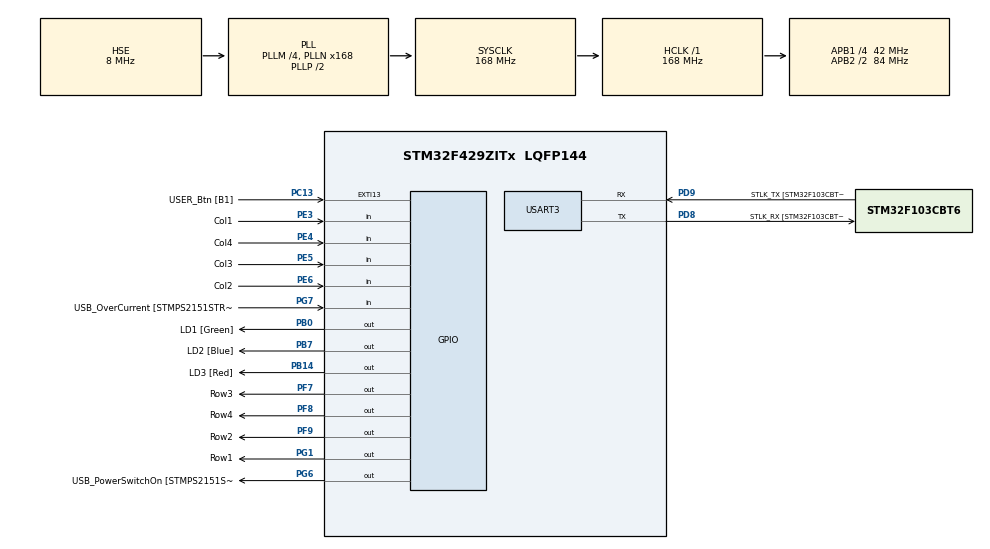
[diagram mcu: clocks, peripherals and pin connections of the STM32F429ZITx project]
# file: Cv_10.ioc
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Mcu.Family=STM32F4
Mcu.Name=STM32F429ZITx
Mcu.Package=LQFP144
NVIC.PriorityGroup=NVIC_PRIORITYGROUP_4
NVIC.TIM3_IRQn=true\:0\:0\:false\:false\:true\:true\:true\:true
PA1.GPIO_Label=RMII_REF_CLK [LAN8742A-CZ-TR_REFCLK0]
PA1.Signal=ETH_REF_CLK
PA10.GPIO_Label=USB_ID
PA10.Signal=USB_OTG_FS_ID
PA11.GPIO_Label=USB_DM
PA11.Signal=USB_OTG_FS_DM
PA12.GPIO_Label=USB_DP
PA12.Signal=USB_OTG_FS_DP
PA13.GPIO_Label=TMS
PA13.Mode=Serial_Wire
PA13.Signal=SYS_JTMS-SWDIO
PA14.GPIO_Label=TCK
PA14.Mode=Serial_Wire
PA14.Signal=SYS_JTCK-SWCLK
PA2.GPIO_Label=RMII_MDIO [LAN8742A-CZ-TR_MDIO]
PA2.Signal=ETH_MDIO
PA7.GPIO_Label=RMII_CRS_DV [LAN8742A-CZ-TR_CRS_DV]
PA7.Signal=ETH_CRS_DV
PA8.GPIO_Label=USB_SOF [TP1]
PA8.Signal=USB_OTG_FS_SOF
PA9.GPIO_Label=USB_VBUS
PA9.Signal=USB_OTG_FS_VBUS
PB0.GPIO_Label=LD1 [Green]
PB0.Signal=GPIO_Output
PB13.GPIO_Label=RMII_TXD1 [LAN8742A-CZ-TR_TXD1]
PB13.Signal=ETH_TXD1
PB14.GPIO_Label=LD3 [Red]
PB14.Signal=GPIO_Output
PB7.GPIO_Label=LD2 [Blue]
PB7.Signal=GPIO_Output
PC1.GPIO_Label=RMII_MDC [LAN8742A-CZ-TR_MDC]
PC1.Signal=ETH_MDC
PC13.GPIO_Label=USER_Btn [B1]
PC13.Signal=GPXTI13
PC14/OSC32_IN.Mode=LSE-External-Oscillator
PC14/OSC32_IN.Signal=RCC_OSC32_IN
PC15/OSC32_OUT.Mode=LSE-External-Oscillator
PC15/OSC32_OUT.Signal=RCC_OSC32_OUT
PC4.GPIO_Label=RMII_RXD0 [LAN8742A-CZ-TR_RXD0]
PC4.Signal=ETH_RXD0
PC5.GPIO_Label=RMII_RXD1 [LAN8742A-CZ-TR_RXD1]
PC5.Signal=ETH_RXD1
PD8.GPIO_Label=STLK_RX [STM32F103CBT6_PA3]
PD8.Mode=Asynchronous
PD8.Signal=USART3_TX
PD9.GPIO_Label=STLK_TX [STM32F103CBT6_PA2]
PD9.Mode=Asynchronous
PD9.Signal=USART3_RX
PE3.GPIO_Label=Col1
PE3.GPIO_PuPd=GPIO_PULLUP
PE3.Signal=GPIO_Input
PE4.GPIO_Label=Col4
PE4.GPIO_PuPd=GPIO_PULLUP
PE4.Signal=GPIO_Input
PE5.GPIO_Label=Col3
PE5.GPIO_PuPd=GPIO_PULLUP
PE5.Signal=GPIO_Input
PE6.GPIO_Label=Col2
PE6.GPIO_PuPd=GPIO_PULLUP
PE6.Signal=GPIO_Input
PF7.GPIO_Label=Row3
PF7.GPIO_ModeDefaultOutputPP=GPIO_MODE_OUTPUT_OD
PF7.GPIO_PuPd=GPIO_NOPULL
PF7.Signal=GPIO_Output
PF8.GPIO_Label=Row4
PF8.GPIO_ModeDefaultOutputPP=GPIO_MODE_OUTPUT_OD
PF8.GPIO_PuPd=GPIO_NOPULL
PF8.Signal=GPIO_Output
PF9.GPIO_Label=Row2
PF9.GPIO_ModeDefaultOutputPP=GPIO_MODE_OUTPUT_OD
PF9.GPIO_PuPd=GPIO_NOPULL
PF9.Signal=GPIO_Output
PG1.GPIO_Label=Row1
PG1.GPIO_ModeDefaultOutputPP=GPIO_MODE_OUTPUT_OD
PG1.GPIO_PuPd=GPIO_NOPULL
PG1.Signal=GPIO_Output
PG11.GPIO_Label=RMII_TX_EN [LAN8742A-CZ-TR_TXEN]
PG11.Signal=ETH_TX_EN
PG13.GPIO_Label=RMII_TXD0 [LAN8742A-CZ-TR_TXD0]
PG13.Signal=ETH_TXD0
PG6.GPIO_Label=USB_PowerSwitchOn [STMPS2151STR_EN]
PG6.Signal=GPIO_Output
PG7.GPIO_Label=USB_OverCurrent [STMPS2151STR_FAULT]
PG7.Signal=GPIO_Input
PH0/OSC_IN.GPIO_Label=MCO [STM32F103CBT6_PA8]
PH0/OSC_IN.Mode=HSE-External-Clock-Source
PH0/OSC_IN.Signal=RCC_OSC_IN
PH1/OSC_OUT.Mode=HSE-External-Clock-Source
PH1/OSC_OUT.Signal=RCC_OSC_OUT
ProjectManager.HeapSize=0x200
ProjectManager.StackSize=0x400
ProjectManager.TargetToolchain=STM32CubeIDE
RCC.48MHZClocksFreq_Value=48000000
RCC.AHBFreq_Value=168000000
RCC.APB1CLKDivider=RCC_HCLK_DIV4
RCC.APB1Freq_Value=42000000
RCC.APB1TimFreq_Value=84000000
RCC.APB2CLKDivider=RCC_HCLK_DIV2
RCC.APB2Freq_Value=84000000
RCC.APB2TimCLKDivider=2
RCC.APB2TimFreq_Value=168000000
RCC.CortexFreq_Value=168000000
RCC.HCLKFreq_Value=168000000
RCC.HSE_VALUE=8000000
RCC.HSI_VALUE=16000000
RCC.PLLM=4
RCC.PLLMUL=RCC_PLL_MUL9
RCC.PLLN=168
RCC.PLLQ=7
RCC.PLLSourceVirtual=RCC_PLLSOURCE_HSE
RCC.PRESCALERUSB=RCC_USBCLKSOURCE_PLL_DIV1_5
RCC.SYSCLKFreq_VALUE=168000000
RCC.SYSCLKSource=RCC_SYSCLKSOURCE_PLLCLK
RCC.SYSCLKSourceVirtual=RCC_SYSCLKSOURCE_PLLCLK
RCC.USBFreq_Value=48000000
RCC.VCOOutputFreq_Value=336000000
TIM3.AutoReloadPreload=TIM_AUTORELOAD_PRELOAD_ENABLE
TIM3.Period=99
TIM3.Prescaler=8399
USART3.VirtualMode=VM_ASYNC
VP_TIM3_VS_ClockSourceINT.Mode=Internal
board=NUCLEO-F429ZI

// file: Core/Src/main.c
/* USER CODE BEGIN Header */
/**
  ******************************************************************************
  * @file           : main.c
  * @brief          : Main program body
  ******************************************************************************
  * @attention
  *
  * Copyright (c) 2022 STMicroelectronics.
  * All rights reserved.
  *
  * This software is licensed under terms that can be found in the LICENSE file
  * in the root directory of this software component.
  * If no LICENSE file comes with this software, it is provided AS-IS.
  *
  ******************************************************************************
  */
/* USER CODE END Header */
#include "main.h"

/* USER CODE BEGIN Includes */
#include "stdio.h"
/* USER CODE END Includes */

TIM_HandleTypeDef htim3;

UART_HandleTypeDef huart3;

/* USER CODE BEGIN PV */
static volatile int8_t key = -1;
/* USER CODE END PV */

void SystemClock_Config(void);
static void MX_GPIO_Init(void);
static void MX_USART3_UART_Init(void);
static void MX_TIM3_Init(void);

/* USER CODE BEGIN 0 */
int __io_putchar(int ch) {
	ITM_SendChar(ch);
	return 0;
}
void HAL_TIM_PeriodElapsedCallback(TIM_HandleTypeDef *htim) {
	static int row = 0;
	static const int keyboard[4][4] = {
			{ 1, 2, 3, 21 },
			{ 4, 5, 6, 22 },
			{ 7, 8, 9, 23 },
			{ 11, 0, 12, 24 },
	};
	if (key == -1) {
		if (HAL_GPIO_ReadPin(Col1_GPIO_Port, Col1_Pin) == GPIO_PIN_RESET)
			key = keyboard[row][0];
		if (HAL_GPIO_ReadPin(Col2_GPIO_Port, Col2_Pin) == GPIO_PIN_RESET)
			key = keyboard[row][1];
		if (HAL_GPIO_ReadPin(Col3_GPIO_Port, Col3_Pin) == GPIO_PIN_RESET)
			key = keyboard[row][2];
		if (HAL_GPIO_ReadPin(Col4_GPIO_Port, Col4_Pin) == GPIO_PIN_RESET)
			key = keyboard[row][3];
	}
	HAL_GPIO_WritePin(Row1_GPIO_Port, Row1_Pin, GPIO_PIN_SET);
	HAL_GPIO_WritePin(Row2_GPIO_Port, Row2_Pin, GPIO_PIN_SET);
	HAL_GPIO_WritePin(Row3_GPIO_Port, Row3_Pin, GPIO_PIN_SET);
	HAL_GPIO_WritePin(Row4_GPIO_Port, Row4_Pin, GPIO_PIN_SET);
	switch (row) {
	case 0:
		row = 1;
		HAL_GPIO_WritePin(Row2_GPIO_Port, Row2_Pin, GPIO_PIN_RESET);
		break;
	case 1:
		row = 2;
		HAL_GPIO_WritePin(Row3_GPIO_Port, Row3_Pin, GPIO_PIN_RESET);
		break;
	case 2:
		row = 3;
		HAL_GPIO_WritePin(Row4_GPIO_Port, Row4_Pin, GPIO_PIN_RESET);
		break;
	case 3:
		row = 0;
		HAL_GPIO_WritePin(Row1_GPIO_Port, Row1_Pin, GPIO_PIN_RESET);
		break;
	}
}

/* USER CODE END 0 */

int main(void)
{

  /* MCU Configuration--------------------------------------------------------*/

  /* Reset of all peripherals, Initializes the Flash interface and the Systick. */
  HAL_Init();

  /* Configure the system clock */
  SystemClock_Config();

  /* Initialize all configured peripherals */
  MX_GPIO_Init();
  MX_USART3_UART_Init();
  MX_TIM3_Init();
  /* USER CODE BEGIN 2 */
  HAL_TIM_Base_Start_IT(&htim3);
  printf(" Cv_10 online:\n");

  const uint8_t password[] = {7, 9, 3, 2, 12};
  uint8_t pos = 0;
  uint32_t timeout;
  /* USER CODE END 2 */

  /* Infinite loop */
  /* USER CODE BEGIN WHILE */
  while (1)
  {

		if (key != -1) {
			timeout = HAL_GetTick(); //store time for timeout count
			if (key == password[pos]) {
				pos++;
				printf("Pressed: %d > pos: %d\n", key, pos);
				HAL_Delay(250); //filter delay
				if (pos > 4) {
					HAL_GPIO_TogglePin(LD1_GPIO_Port, LD1_Pin); //toggle led in case of success
					printf("Toggle LED\n");
					pos = 0;
				}

			}
			else {
				printf("FAIL\n");
				pos = 0;
				printf("Pressed: %d > pos: %d\n", key, pos);
			}
		key = -1; // flag for new read
		}
		if (HAL_GetTick() > timeout + 3000) {

			if (pos != 0) {
				printf("Timeout\n");
			}
			pos = 0;
		}
    /* USER CODE END WHILE */

  }
}

void SystemClock_Config(void)
{
  RCC_OscInitTypeDef RCC_OscInitStruct = {0};
  RCC_ClkInitTypeDef RCC_ClkInitStruct = {0};

  /** Configure the main internal regulator output voltage
  */
  __HAL_RCC_PWR_CLK_ENABLE();
  __HAL_PWR_VOLTAGESCALING_CONFIG(PWR_REGULATOR_VOLTAGE_SCALE1);

  /** Initializes the RCC Oscillators according to the specified parameters
  * in the RCC_OscInitTypeDef structure.
  */
  RCC_OscInitStruct.OscillatorType = RCC_OSCILLATORTYPE_HSE;
  RCC_OscInitStruct.HSEState = RCC_HSE_BYPASS;
  RCC_OscInitStruct.PLL.PLLState = RCC_PLL_ON;
  RCC_OscInitStruct.PLL.PLLSource = RCC_PLLSOURCE_HSE;
  RCC_OscInitStruct.PLL.PLLM = 4;
  RCC_OscInitStruct.PLL.PLLN = 168;
  RCC_OscInitStruct.PLL.PLLP = RCC_PLLP_DIV2;
  RCC_OscInitStruct.PLL.PLLQ = 7;
  if (HAL_RCC_OscConfig(&RCC_OscInitStruct) != HAL_OK)
  {
    Error_Handler();
  }

  /** Initializes the CPU, AHB and APB buses clocks
  */
  RCC_ClkInitStruct.ClockType = RCC_CLOCKTYPE_HCLK|RCC_CLOCKTYPE_SYSCLK
                              |RCC_CLOCKTYPE_PCLK1|RCC_CLOCKTYPE_PCLK2;
  RCC_ClkInitStruct.SYSCLKSource = RCC_SYSCLKSOURCE_PLLCLK;
  RCC_ClkInitStruct.AHBCLKDivider = RCC_SYSCLK_DIV1;
  RCC_ClkInitStruct.APB1CLKDivider = RCC_HCLK_DIV4;
  RCC_ClkInitStruct.APB2CLKDivider = RCC_HCLK_DIV2;

  if (HAL_RCC_ClockConfig(&RCC_ClkInitStruct, FLASH_LATENCY_5) != HAL_OK)
  {
    Error_Handler();
  }
}

static void MX_TIM3_Init(void)
{

  TIM_ClockConfigTypeDef sClockSourceConfig = {0};
  TIM_MasterConfigTypeDef sMasterConfig = {0};

  htim3.Instance = TIM3;
  htim3.Init.Prescaler = 8399;
  htim3.Init.CounterMode = TIM_COUNTERMODE_UP;
  htim3.Init.Period = 99;
  htim3.Init.ClockDivision = TIM_CLOCKDIVISION_DIV1;
  htim3.Init.AutoReloadPreload = TIM_AUTORELOAD_PRELOAD_ENABLE;
  if (HAL_TIM_Base_Init(&htim3) != HAL_OK)
  {
    Error_Handler();
  }
  sClockSourceConfig.ClockSource = TIM_CLOCKSOURCE_INTERNAL;
  if (HAL_TIM_ConfigClockSource(&htim3, &sClockSourceConfig) != HAL_OK)
  {
    Error_Handler();
  }
  sMasterConfig.MasterOutputTrigger = TIM_TRGO_RESET;
  sMasterConfig.MasterSlaveMode = TIM_MASTERSLAVEMODE_DISABLE;
  if (HAL_TIMEx_MasterConfigSynchronization(&htim3, &sMasterConfig) != HAL_OK)
  {
    Error_Handler();
  }

}

static void MX_USART3_UART_Init(void)
{

  huart3.Instance = USART3;
  huart3.Init.BaudRate = 115200;
  huart3.Init.WordLength = UART_WORDLENGTH_8B;
  huart3.Init.StopBits = UART_STOPBITS_1;
  huart3.Init.Parity = UART_PARITY_NONE;
  huart3.Init.Mode = UART_MODE_TX_RX;
  huart3.Init.HwFlowCtl = UART_HWCONTROL_NONE;
  huart3.Init.OverSampling = UART_OVERSAMPLING_16;
  if (HAL_UART_Init(&huart3) != HAL_OK)
  {
    Error_Handler();
  }

}

static void MX_GPIO_Init(void)
{
  GPIO_InitTypeDef GPIO_InitStruct = {0};

  /* GPIO Ports Clock Enable */
  __HAL_RCC_GPIOE_CLK_ENABLE();
  __HAL_RCC_GPIOC_CLK_ENABLE();
  __HAL_RCC_GPIOF_CLK_ENABLE();
  __HAL_RCC_GPIOH_CLK_ENABLE();
  __HAL_RCC_GPIOA_CLK_ENABLE();
  __HAL_RCC_GPIOB_CLK_ENABLE();
  __HAL_RCC_GPIOG_CLK_ENABLE();
  __HAL_RCC_GPIOD_CLK_ENABLE();

  /*Configure GPIO pin Output Level */
  HAL_GPIO_WritePin(GPIOF, Row3_Pin|Row4_Pin|Row2_Pin, GPIO_PIN_RESET);

  /*Configure GPIO pin Output Level */
  HAL_GPIO_WritePin(GPIOB, LD1_Pin|LD3_Pin|LD2_Pin, GPIO_PIN_RESET);

  /*Configure GPIO pin Output Level */
  HAL_GPIO_WritePin(GPIOG, Row1_Pin|USB_PowerSwitchOn_Pin, GPIO_PIN_RESET);

  /*Configure GPIO pins : Col1_Pin Col4_Pin Col3_Pin Col2_Pin */
  GPIO_InitStruct.Pin = Col1_Pin|Col4_Pin|Col3_Pin|Col2_Pin;
  GPIO_InitStruct.Mode = GPIO_MODE_INPUT;
  GPIO_InitStruct.Pull = GPIO_PULLUP;
  HAL_GPIO_Init(GPIOE, &GPIO_InitStruct);

  /*Configure GPIO pin : USER_Btn_Pin */
  GPIO_InitStruct.Pin = USER_Btn_Pin;
  GPIO_InitStruct.Mode = GPIO_MODE_IT_RISING;
  GPIO_InitStruct.Pull = GPIO_NOPULL;
  HAL_GPIO_Init(USER_Btn_GPIO_Port, &GPIO_InitStruct);

  /*Configure GPIO pins : Row3_Pin Row4_Pin Row2_Pin */
  GPIO_InitStruct.Pin = Row3_Pin|Row4_Pin|Row2_Pin;
  GPIO_InitStruct.Mode = GPIO_MODE_OUTPUT_OD;
  GPIO_InitStruct.Pull = GPIO_NOPULL;
  GPIO_InitStruct.Speed = GPIO_SPEED_FREQ_LOW;
  HAL_GPIO_Init(GPIOF, &GPIO_InitStruct);

  /*Configure GPIO pins : RMII_MDC_Pin RMII_RXD0_Pin RMII_RXD1_Pin */
  GPIO_InitStruct.Pin = RMII_MDC_Pin|RMII_RXD0_Pin|RMII_RXD1_Pin;
  GPIO_InitStruct.Mode = GPIO_MODE_AF_PP;
  GPIO_InitStruct.Pull = GPIO_NOPULL;
  GPIO_InitStruct.Speed = GPIO_SPEED_FREQ_VERY_HIGH;
  GPIO_InitStruct.Alternate = GPIO_AF11_ETH;
  HAL_GPIO_Init(GPIOC, &GPIO_InitStruct);

  /*Configure GPIO pins : RMII_REF_CLK_Pin RMII_MDIO_Pin RMII_CRS_DV_Pin */
  GPIO_InitStruct.Pin = RMII_REF_CLK_Pin|RMII_MDIO_Pin|RMII_CRS_DV_Pin;
  GPIO_InitStruct.Mode = GPIO_MODE_AF_PP;
  GPIO_InitStruct.Pull = GPIO_NOPULL;
  GPIO_InitStruct.Speed = GPIO_SPEED_FREQ_VERY_HIGH;
  GPIO_InitStruct.Alternate = GPIO_AF11_ETH;
  HAL_GPIO_Init(GPIOA, &GPIO_InitStruct);

  /*Configure GPIO pins : LD1_Pin LD3_Pin LD2_Pin */
  GPIO_InitStruct.Pin = LD1_Pin|LD3_Pin|LD2_Pin;
  GPIO_InitStruct.Mode = GPIO_MODE_OUTPUT_PP;
  GPIO_InitStruct.Pull = GPIO_NOPULL;
  GPIO_InitStruct.Speed = GPIO_SPEED_FREQ_LOW;
  HAL_GPIO_Init(GPIOB, &GPIO_InitStruct);

  /*Configure GPIO pin : Row1_Pin */
  GPIO_InitStruct.Pin = Row1_Pin;
  GPIO_InitStruct.Mode = GPIO_MODE_OUTPUT_OD;
  GPIO_InitStruct.Pull = GPIO_NOPULL;
  GPIO_InitStruct.Speed = GPIO_SPEED_FREQ_LOW;
  HAL_GPIO_Init(Row1_GPIO_Port, &GPIO_InitStruct);

  /*Configure GPIO pin : RMII_TXD1_Pin */
  GPIO_InitStruct.Pin = RMII_TXD1_Pin;
  GPIO_InitStruct.Mode = GPIO_MODE_AF_PP;
  GPIO_InitStruct.Pull = GPIO_NOPULL;
  GPIO_InitStruct.Speed = GPIO_SPEED_FREQ_VERY_HIGH;
  GPIO_InitStruct.Alternate = GPIO_AF11_ETH;
  HAL_GPIO_Init(RMII_TXD1_GPIO_Port, &GPIO_InitStruct);

  /*Configure GPIO pin : USB_PowerSwitchOn_Pin */
  GPIO_InitStruct.Pin = USB_PowerSwitchOn_Pin;
  GPIO_InitStruct.Mode = GPIO_MODE_OUTPUT_PP;
  GPIO_InitStruct.Pull = GPIO_NOPULL;
  GPIO_InitStruct.Speed = GPIO_SPEED_FREQ_LOW;
  HAL_GPIO_Init(USB_PowerSwitchOn_GPIO_Port, &GPIO_InitStruct);

  /*Configure GPIO pin : USB_OverCurrent_Pin */
  GPIO_InitStruct.Pin = USB_OverCurrent_Pin;
  GPIO_InitStruct.Mode = GPIO_MODE_INPUT;
  GPIO_InitStruct.Pull = GPIO_NOPULL;
  HAL_GPIO_Init(USB_OverCurrent_GPIO_Port, &GPIO_InitStruct);

  /*Configure GPIO pins : USB_SOF_Pin USB_ID_Pin USB_DM_Pin USB_DP_Pin */
  GPIO_InitStruct.Pin = USB_SOF_Pin|USB_ID_Pin|USB_DM_Pin|USB_DP_Pin;
  GPIO_InitStruct.Mode = GPIO_MODE_AF_PP;
  GPIO_InitStruct.Pull = GPIO_NOPULL;
  GPIO_InitStruct.Speed = GPIO_SPEED_FREQ_VERY_HIGH;
  GPIO_InitStruct.Alternate = GPIO_AF10_OTG_FS;
  HAL_GPIO_Init(GPIOA, &GPIO_InitStruct);

  /*Configure GPIO pin : USB_VBUS_Pin */
  GPIO_InitStruct.Pin = USB_VBUS_Pin;
  GPIO_InitStruct.Mode = GPIO_MODE_INPUT;
  GPIO_InitStruct.Pull = GPIO_NOPULL;
  HAL_GPIO_Init(USB_VBUS_GPIO_Port, &GPIO_InitStruct);

  /*Configure GPIO pins : RMII_TX_EN_Pin RMII_TXD0_Pin */
  GPIO_InitStruct.Pin = RMII_TX_EN_Pin|RMII_TXD0_Pin;
  GPIO_InitStruct.Mode = GPIO_MODE_AF_PP;
  GPIO_InitStruct.Pull = GPIO_NOPULL;
  GPIO_InitStruct.Speed = GPIO_SPEED_FREQ_VERY_HIGH;
  GPIO_InitStruct.Alternate = GPIO_AF11_ETH;
  HAL_GPIO_Init(GPIOG, &GPIO_InitStruct);

}

void Error_Handler(void)
{
  __disable_irq();
  while (1)
  {
  }
}
